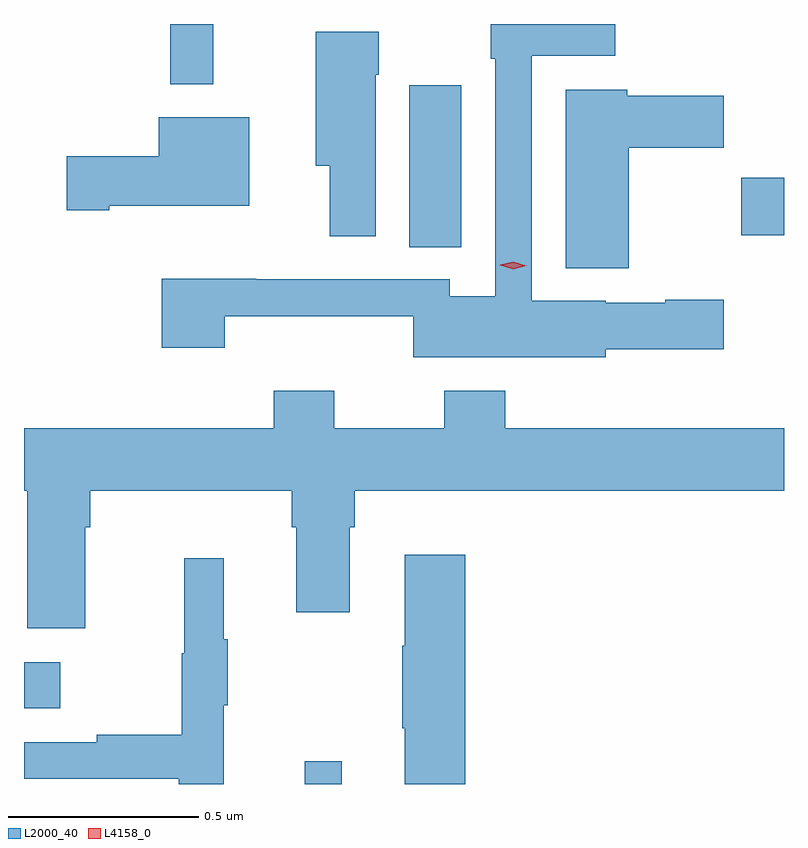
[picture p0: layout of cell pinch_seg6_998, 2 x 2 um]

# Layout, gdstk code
import gdstk
lib = gdstk.Library(unit=1e-6, precision=1e-09)
def R(c, l, rs):  # rectangles x0, y0, x1, y1
    for r in rs: c.add(gdstk.rectangle(r[:2], r[2:], *l))
def P(c, l, *ps):  # polygons
    for p in ps: c.add(gdstk.Polygon(p, *l))
L2000_40 = (2000, 40)
L4158_0 = (4158, 0)

pinch_seg6_998 = lib.new_cell('pinch_seg6_998')
R(pinch_seg6_998, L2000_40, [(249.879,933.244,249.976,933.304), (249.14,933.443,249.235,933.565), (250.154,934.657,250.291,935.083), (251.028,934.688,251.14,934.84), (249.525,935.085,249.638,935.244)])
P(pinch_seg6_998, L2000_40, [(250.671,934.388),(250.981,934.388),(250.981,934.518),(250.828,934.518),(250.828,934.51),(250.671,934.51),(250.671,934.516),(250.476,934.516),(250.476,935.16),(250.696,935.16),(250.696,935.244),(250.368,935.244),(250.368,935.153),(250.38,935.153),(250.38,934.528),(250.26,934.528),(250.26,934.572),(249.751,934.572),(249.751,934.574),(249.503,934.574),(249.503,934.392),(249.668,934.392),(249.668,934.475),(250.164,934.475),(250.164,934.367),(250.671,934.367)],
  [(250.066,935.111),(250.074,935.111),(250.074,935.224),(249.908,935.224),(249.908,934.871),(249.944,934.871),(249.944,934.686),(250.066,934.686)],
  [(250.732,934.918),(250.981,934.918),(250.981,935.055),(250.728,935.055),(250.728,935.071),(250.565,935.071),(250.565,934.601),(250.732,934.601)],
  [(249.364,934.766),(249.733,934.766),(249.733,934.999),(249.494,934.999),(249.494,934.896),(249.252,934.896),(249.252,934.754),(249.364,934.754)],
  [(249.301,933.92),(249.314,933.92),(249.314,934.016),(249.845,934.016),(249.845,933.92),(249.857,933.92),(249.857,933.696),(249.997,933.696),(249.997,933.92),(250.01,933.92),(250.01,934.016),(251.14,934.016),(251.14,934.18),(250.406,934.18),(250.406,934.279),(250.246,934.279),(250.246,934.18),(249.957,934.18),(249.957,934.279),(249.797,934.279),(249.797,934.18),(249.14,934.18),(249.14,934.016),(249.149,934.016),(249.149,933.654),(249.301,933.654)],
  [(250.301,933.847),(250.142,933.847),(250.142,933.608),(250.135,933.608),(250.135,933.391),(250.142,933.391),(250.142,933.244),(250.301,933.244)],
  [(249.665,933.451),(249.676,933.451),(249.676,933.625),(249.665,933.625),(249.665,933.838),(249.562,933.838),(249.562,933.588),(249.555,933.588),(249.555,933.374),(249.331,933.374),(249.331,933.354),(249.14,933.354),(249.14,933.258),(249.547,933.258),(249.547,933.244),(249.665,933.244)])
P(pinch_seg6_998, L4158_0, [(250.427,934.599),(250.393,934.609),(250.392,934.609),(250.393,934.61),(250.428,934.619),(250.462,934.608),(250.463,934.608),(250.462,934.608)])

lib.write_gds('pinch_seg6_998.gds')
